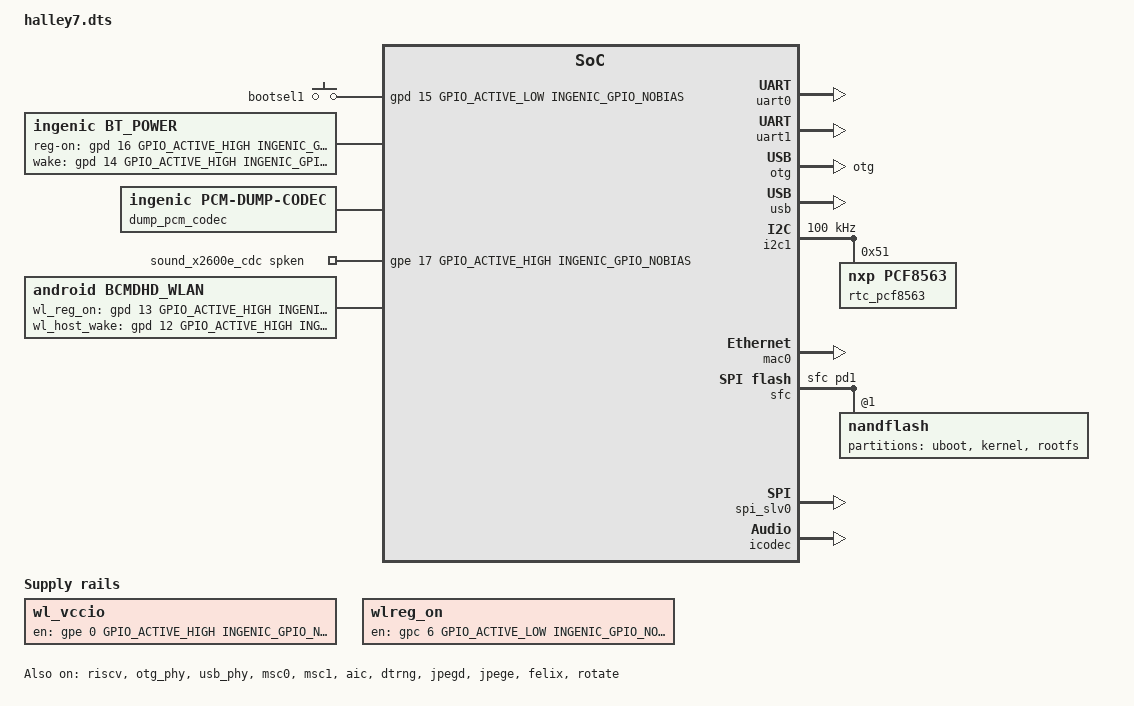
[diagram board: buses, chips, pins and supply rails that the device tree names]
/dts-v1/;

#include <dt-bindings/input/input.h>
#include "x2600.dtsi"
#include <dt-bindings/interrupt-controller/irq.h>
#include <generated/autoconf.h>

/ {
	compatible = "ingenic,x2600-halley7";
	chosen {
		/*bootargs = "console=ttyS0,115200 mem=128M@0x0 ip=off init=/linuxrc ubi.mtd=2 root=ubi0:rootfs ubi.mtd=3 rootfstype=ubifs rw flashtype=nand";*/
		/*bootargs = "console=ttyS0,115200 mem=128M@0x0 ip=off init=/linuxrc rootfstype=jffs2 root=/dev/mtdblock2 rw flashtype=nor";*/
	};

	reserved-memory {
		#address-cells = <1>;
		#size-cells = <1>;
		ranges =<>;

		/*dynamic fixup according to ddr size.*/
		reserved_memory: reserved_mem {
		      compatible = "shared-dma-pool";
		      reg-64M  = <0x03000000 0xf00000>;
		      reg-128M = <0x06000000 0x1f00000>;
		      reg-256M = <0x0e000000 0x1f00000>;
		};

		riscv_mcu_ram: riscv_mcu_ram {
			 compatible = "shared-dma-pool";
			 reg-64M = <0x03F00000 0x50000>;
			 reg-128M = <0x07F00000 0x50000>;
			 reg-256M = <0x0FF00000 0x50000>;

		 };

		vdev0buffer: vdev0buffer {
			 compatible = "shared-dma-pool";
			 reg-64M = <0x03F50000 0x8000>;
			 reg-128M = <0x07F50000 0x8000>;
			 reg-256M = <0x0FF50000 0x8000>;
		};
		vdev0vring0: vdev0vring0@12400000{
		    	compatible = "shared-dma-pool";
			reg = <0x12400000 0x1000>;
			no-map;
		};

		vdev0vring1: vdev0vring1@12401000{
		    	compatible = "shared-dma-pool";
			reg = <0x12401000 0x1000>;
			no-map;
		};
	};
};

&riscv {
	status = "okay";
	memory-region=<&vdev0buffer &vdev0vring0 &vdev0vring1>;
	mcu-ram = <&riscv_mcu_ram>;
};

&uart0 {
	status = "okay";
	pinctrl-names = "default";
	pinctrl-0 = <&uart0_pe>;
};

&uart1 {
	status = "okay";
	pinctrl-names = "default";
	pinctrl-0 = <&uart1_pb>;
};

&otg {
	dr_mode = "otg"; // host,peripheral,otg
	device-using-dma = <1>;
	status = "okay";
};

&usb {
	device-using-dma = <1>;
	status = "okay";
};

&otg_phy {
	status = "okay";
	ingenic,drvvbus-gpio = <&gpe 18 GPIO_ACTIVE_HIGH INGENIC_GPIO_NOBIAS>;
	ingenic,vbus-dete-gpio = <&gpe 20 GPIO_ACTIVE_LOW INGENIC_GPIO_NOBIAS>;
};

&usb_phy {
	status = "okay";
};

&i2c1 {
    clock-frequency = <100000>;
    pinctrl-0 = <&i2c1_pc>;
    timeout = <1000>;
    pinctrl-names = "default";
    status = "okay";

    rtc_pcf8563:rtc_pcf8563@51{
                compatible = "nxp,pcf8563";
                reg = <0x51>;
                status = "okay";
    };
};

&msc0 {
	status = "okay";
	pinctrl-names ="default";
	pinctrl-0 = <&msc0_8bit_low>,<&msc0_8bit_high>;
	mmc-hs200-1_8v;
	non-removable;
	max-frequency = <100000000>;
	bus-width = <8>;
	voltage-ranges = <1800 3300>;

	ingenic,rst-gpios = <0>;

};

&msc1 {
	status = "okay";
	/*mmc-hs200-1_8v;*/
	pinctrl-names ="default";
	pinctrl-0 = <&msc1_4bit1>;

	cap-mmc-highspeed;
	max-frequency = <50000000>;
	bus-width = <4>;
	voltage-ranges = <1800 3300>;
	non-removable;

	ingenic,sdio_clk = <1>;
	keep-power-in-suspend;
	ingenic,removal-manual;

#ifndef CONFIG_RTL8723DS
	bcmdhd_wlan: bcmdhd_wlan {
		 compatible = "android,bcmdhd_wlan";
		 gpio_wl_reg_on = <&gpd 13 GPIO_ACTIVE_HIGH INGENIC_GPIO_NOBIAS>;
		 gpio_wl_host_wake = <&gpd 12 GPIO_ACTIVE_HIGH INGENIC_GPIO_NOBIAS>;
    };
#else
    rtl8723ds: rtl8723ds {
        compatible = "rtk,rtl8723ds_wlan";
		 ingenic,sdio-irq = <&gpd 12 IRQ_TYPE_LEVEL_HIGH INGENIC_GPIO_NOBIAS>;
		 ingenic,sdio-reset = <&gpd 13 GPIO_ACTIVE_LOW INGENIC_GPIO_NOBIAS>;
    };
#endif
};

&mac0 {
	pinctrl-names = "default", "reset";
	pinctrl-0 = <&mac0_rmii_p0_normal>, <&mac0_rmii_p1_normal>,<&mac0_phy_clk>;
	pinctrl-1 = <&mac0_rmii_p0_rst>, <&mac0_rmii_p1_normal>, <&mac0_phy_clk>;
	status = "okay";
	ingenic,rst-gpio = <&gpc 13 GPIO_ACTIVE_LOW INGENIC_GPIO_NOBIAS>;
	ingenic,rst-ms = <10>;
	ingenic,mac-mode = <RMII>;
	ingenic,mode-reg = <0xb00000e4>;
	ingenic,phy-clk-freq = <50000000>;
};


&sfc {
	status = "okay";
	pinctrl-names = "default";
	pinctrl-0 = <&sfc_pd1>;
	ingenic,sfc-max-frequency = <200000000>;
	ingenic,sfc-init-frequency= <40000000>;
	ingenic,use_ofpart_info  = /bits/ 8 <0>;
	ingenic,spiflash_param_offset = <0>;

	nandflash@1 {
		partitions {
		compatible = "fixed-partitions";
		#address-cells = <1>;
		#size-cells = <1>;
		/* spi nand flash partition */
		partition@0 {
			label = "uboot";
			reg = <0x0000000 0x100000>;
		/*read-only;*/
		};
		partition@100000 {
			label = "kernel";
			reg = <0x100000 0x800000>;
		};
		partition@900000 {
			label = "rootfs";
			reg = <0x900000 0xf700000>;
		};
		};
	};

};

&aic {
	status = "okay";
};

&dmic {
	status = "disable";
	pinctrl-names = "default";
	pinctrl-0 = <&dmic_pc_4ch>;
};

&spi0 {
	status = "disabled";
	pinctrl-names = "default";
	pinctrl-0 = <&spi0_pb>;
	spi-max-frequency = <54000000>;
	num-cs = <2>;
	/* cs-gpios = <0>, <0>; */
	/* cs-gpios = <&gpb 17 GPIO_ACTIVE_HIGH INGENIC_GPIO_NOBIAS>, <&gpb 16 GPIO_ACTIVE_HIGH INGENIC_GPIO_NOBIAS>; */
	ingenic,chnl = <0>;
	ingenic,allow_cs_same = <1>;
	ingenic,bus_num = <0>;
	ingenic,has_dma_support = <0>;
	ingenic,spi-src-clk = <1>;/*0.ext; 1.ssi*/

	/* Add SPI interface device */
	spidev: spidev@0 {
		compatible = "rohm,dh2228fv";
		reg = <0>;
		spi-max-frequency = <10000000>;
	};
};

&spi_slv0 {
	status = "okay";
	pinctrl-names = "default";
	pinctrl-0 = <&spi_slv_pb>;
	ingenic,has_dma_support = <0>;
};

&efuse {
	status = "disabled";
};

&dtrng {
	status = "okay";
};

&tcu0 {
	status = "disable";
};

&tcu1 {
	status = "disable";
};

// pcm的复用引脚为pc00 - pc03，在使用时注意引脚复用不要冲突，尤其是i2c0_pc和i2c1_pc
&pcm {
	status = "disable";
	ingenic,pcm-master-mode = <1>;
	pinctrl-names = "default";
	pinctrl-0 = <&pcm_pc>;
};

/ {

	extclk: extclk {
		clock-frequency = <24000000>;
	};

	gpio_keys: gpio_keys {
		   compatible = "gpio-keys";

		   bootsel1 {
			   label = "bootsel1";
			   linux,code = <KEY_BACK>;
			   gpios = <&gpd 15 GPIO_ACTIVE_LOW INGENIC_GPIO_NOBIAS>;
			   gpio-key,wakeup;
		   };
	};

	wl_vccio: wl-regulator {
		  compatible = "regulator-fixed";
		  regulator-name = "wl_vccio";
		  gpio = <&gpe 0 GPIO_ACTIVE_HIGH INGENIC_GPIO_NOBIAS>;
		  enable-active-high;
	};

	wlreg_on: wlreg-on {
		  compatible = "regulator-fixed";
		  regulator-name = "wlreg_on";
		  gpio = <&gpc 6 GPIO_ACTIVE_LOW INGENIC_GPIO_NOBIAS>;
		  enable-active-low;
	};

	/*
	 * gpd 14 bt wakeup host
	 * gpd 13 host wakeup bt
	 */
	bt_power {
		compatible = "ingenic,bt_power";
		ingenic,reg-on-gpio = <&gpd 16 GPIO_ACTIVE_HIGH INGENIC_GPIO_NOBIAS>;
		ingenic,wake-gpio = <&gpd 14 GPIO_ACTIVE_HIGH INGENIC_GPIO_NOBIAS>;
		status = "okay";
	};

	watchdog {
		compatible = "sgm820-wdt";
		ingenic,sgm820-wdi = <&gpc 12 GPIO_ACTIVE_LOW INGENIC_GPIO_NOBIAS>;
		status = "okay";
	};

	dump_pcm_codec:dump_pcm_codec{
		compatible = "ingenic,pcm-dump-codec";
		status = "okay";
	};

	sound_x2600e_cdc {
		status = "okay";
		compatible = "ingenic,x2660-halley-sound";
		ingenic,model = "x2660";
		ingenic,dai-link = "pcm", "i2s-icodec", "dmic", "i2s-tloop";
		ingenic,stream = "pcm", "i2s-icodec", "dmic", "i2s-tloop";
		ingenic,cpu-dai = <&pcm>, <&i2s>, <&dmic>, <&i2s_tloop>;
		ingenic,platform = <&pcm>, <&aic>, <&dmic>, <&i2s_tloop>;
		ingenic,codec =  <&dump_pcm_codec>, <&icodec>, <&dmic>, <&dump_pcm_codec>;
		ingenic,codec-dai = "pcm-dump", "icodec", "dmic-dump-codec", "pcm-dump";
		ingenic,audio-routing = "Speaker", "HPOUTL", "DACL", "MICBIAS" ,
			"ADCL",  "MICL",
			"ADCR",  "MICR";
		ingenic,spken-gpio = <&gpe 17 GPIO_ACTIVE_HIGH INGENIC_GPIO_NOBIAS>;
	};

	spi_gpio {
		status = "disabled";
		compatible = "spi-gpio";
		#address-cells = <1>;
		#size-cells = <0>;
		/*ranges;*/
		gpio-sck = <&gpe 12 GPIO_ACTIVE_LOW INGENIC_GPIO_NOBIAS>;
		gpio-miso = <&gpe 13 GPIO_ACTIVE_LOW INGENIC_GPIO_NOBIAS>;
		gpio-mosi = <&gpe 14 GPIO_ACTIVE_LOW INGENIC_GPIO_NOBIAS>;
		cs-gpios = <&gpe 15 GPIO_ACTIVE_LOW INGENIC_GPIO_NOBIAS>;
		num-chipselects = <1>;
		/* clients */
		spidev1: spidev1@0 {
			compatible = "rohm,dh2228fv";
			reg = <0>;
			spi-max-frequency = <500000>;
		};
	};
};


&icodec {
	status = "okay";
	/**
	 * level1 : 1.6 * AVDD / 2
	 * level2 : 1.65 * AVDD / 2
	 * level3 : 1.7 * AVDD / 2
	 * level4 : 1.75 * AVDD / 2
	 * level5 : 1.8 * AVDD / 2
	 * level6 : 1.85 * AVDD / 2
	 * level7 : 1.9 * AVDD / 2
	 * level8 : 1.95 * AVDD / 2
	 */
	ingenic,micbias_level = <2>;
    dac2adc_enable = <0>;
};

&jpegd {
	status = "okay";
	memory-region=<&reserved_memory>;
};

&jpege {
	status = "okay";
	memory-region=<&reserved_memory>;
};

&felix {
	status = "okay";
	memory-region=<&reserved_memory>;
};

&rotate {
	status = "okay";
};

&pdma {
	status = "okay";
};

&pdma1 {
	status = "okay";
};

&sadc {
	status = "disable";
	pinctrl-names = "default";
	pinctrl-0 = <&aux_all_pe>;
	seq1 = <0 1 2 3 4 5 6 7 8 9 10 11 12 13 14 15>;
	/* seq1的连续转换间隔时间 单位 ms*/
	seq1-cont-interval = <10>;
	ingenic,has_dma_support = <0>;

};


&pinctrl {
    ingenic,gpe_msc_voltage = <GPIO_VOLTAGE_1V8>;
};


#ifdef CONFIG_STAGE_FW050
#include "x2600e_halley_lcd/X2600E_HALLEY_MIPI_LCD_FW050.dtsi"
#endif
#ifdef CONFIG_STAGE_KD055FHFID018B
#include "x2600e_halley_lcd/X2600E_HALLEY_MIPI_LCD_KD055FHFID018B.dtsi"
#endif
#ifdef CONFIG_STAGE_HC050IG40031
#include "x2600e_halley_lcd/X2600E_HALLEY_RGB_LCD_HC050IG.dtsi"
#endif

#ifdef CONFIG_STAGE_ZC50289HSHD02
#include "x2600e_halley_lcd/X2600E_HALLEY_MIPI_LCD_ZC50289HSHD02.dtsi"
#endif

#ifdef CONFIG_RD_X2600_DVP_CAMERA
#include "halley7_cameras/RD_X2600_HALLEY7_GC0308_V1.0.dtsi"
#endif

